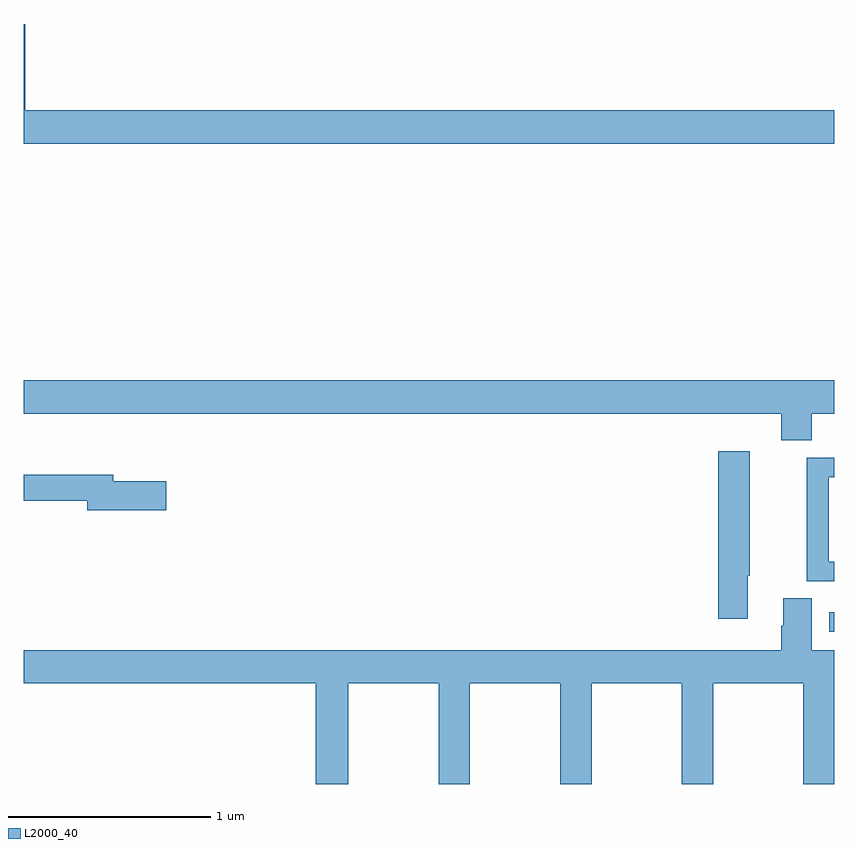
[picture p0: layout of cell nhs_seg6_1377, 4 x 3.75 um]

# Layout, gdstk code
import gdstk
lib = gdstk.Library(unit=1e-6, precision=1e-09)
def R(c, l, rs):  # rectangles x0, y0, x1, y1
    for r in rs: c.add(gdstk.rectangle(r[:2], r[2:], *l))
def P(c, l, *ps):  # polygons
    for p in ps: c.add(gdstk.Polygon(p, *l))
L2000_40 = (2000, 40)

nhs_seg6_1377 = lib.new_cell('nhs_seg6_1377')
R(nhs_seg6_1377, L2000_40, [(198.974,954.252,199,954.348)])
P(nhs_seg6_1377, L2000_40, [(199,956.824),(195.008,956.824),(195.008,957.25),(195,957.25),(195,956.66),(199,956.66)],
  [(198.889,955.328),(199,955.328),(199,955.492),(195,955.492),(195,955.328),(198.737,955.328),(198.737,955.195),(198.889,955.195)],
  [(198.574,954.527),(198.582,954.527),(198.582,955.141),(198.428,955.141),(198.428,954.315),(198.574,954.315)],
  [(199,954.597),(198.972,954.597),(198.972,955.014),(199,955.014),(199,955.11),(198.864,955.11),(198.864,954.501),(199,954.501)],
  [(195.703,954.993),(195.442,954.993),(195.442,955.027),(195,955.027),(195,954.898),(195.314,954.898),(195.314,954.851),(195.703,954.851)],
  [(196.602,953.996),(197.047,953.996),(197.047,953.5),(197.202,953.5),(197.202,953.996),(197.647,953.996),(197.647,953.5),(197.802,953.5),(197.802,953.996),(198.247,953.996),(198.247,953.5),(198.402,953.5),(198.402,953.996),(198.847,953.996),(198.847,953.5),(199,953.5),(199,954.16),(198.889,954.16),(198.889,954.416),(198.749,954.416),(198.749,954.282),(198.737,954.282),(198.737,954.16),(195,954.16),(195,953.996),(196.442,953.996),(196.442,953.5),(196.602,953.5)])

lib.write_gds('nhs_seg6_1377.gds')
